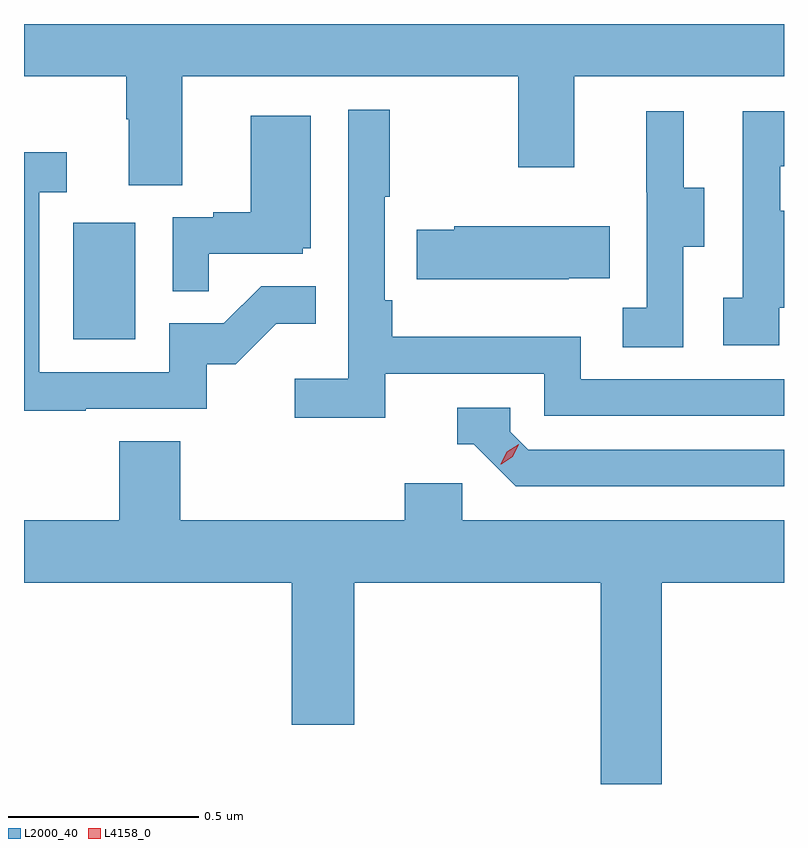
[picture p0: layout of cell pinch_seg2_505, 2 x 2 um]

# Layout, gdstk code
import gdstk
lib = gdstk.Library(unit=1e-6, precision=1e-09)
def R(c, l, rs):  # rectangles x0, y0, x1, y1
    for r in rs: c.add(gdstk.rectangle(r[:2], r[2:], *l))
def P(c, l, *ps):  # polygons
    for p in ps: c.add(gdstk.Polygon(p, *l))
L2000_40 = (2000, 40)
L4158_0 = (4158, 0)

pinch_seg2_505 = lib.new_cell('pinch_seg2_505')
R(pinch_seg2_505, L2000_40, [(967.628,597.66,967.792,597.967)])
P(pinch_seg2_505, L2000_40, [(967.915,598.352),(968.8,598.352),(968.8,598.113),(968.947,598.113),(968.947,598.352),(969.499,598.352),(969.499,598.49),(967.499,598.49),(967.499,598.352),(967.768,598.352),(967.768,598.24),(967.775,598.24),(967.775,598.066),(967.915,598.066)],
  [(968.45,597.57),(968.868,597.57),(968.868,597.459),(969.499,597.459),(969.499,597.555),(968.964,597.555),(968.964,597.667),(968.468,597.667),(968.468,597.763),(968.448,597.763),(968.448,598.036),(968.461,598.036),(968.461,598.264),(968.352,598.264),(968.352,597.556),(968.211,597.556),(968.211,597.454),(968.45,597.454)],
  [(969.486,597.743),(969.499,597.743),(969.499,597.998),(969.489,597.998),(969.489,598.116),(969.499,598.116),(969.499,598.261),(969.39,598.261),(969.39,597.77),(969.339,597.77),(969.339,597.645),(969.486,597.645)],
  [(969.234,597.904),(969.289,597.904),(969.289,598.059),(969.235,598.059),(969.235,598.261),(969.137,598.261),(969.137,598.047),(969.138,598.047),(969.138,597.743),(969.075,597.743),(969.075,597.64),(969.234,597.64)],
  [(967.985,597.885),(968.232,597.885),(968.232,597.9),(968.254,597.9),(968.254,598.249),(968.096,598.249),(968.096,597.994),(967.997,597.994),(967.997,597.981),(967.89,597.981),(967.89,597.787),(967.985,597.787)],
  [(967.661,597.477),(967.98,597.477),(967.98,597.594),(968.056,597.594),(968.163,597.701),(968.267,597.701),(968.267,597.8),(968.123,597.8),(968.025,597.702),(967.881,597.702),(967.881,597.573),(967.539,597.573),(967.539,598.047),(967.612,598.047),(967.612,598.153),(967.499,598.153),(967.499,597.472),(967.661,597.472)],
  [(968.933,597.821),(969.041,597.821),(969.041,597.958),(968.631,597.958),(968.631,597.948),(968.533,597.948),(968.533,597.818),(968.933,597.818)],
  [(969.499,597.369),(968.826,597.369),(968.778,597.417),(968.778,597.48),(968.639,597.48),(968.639,597.384),(968.682,597.384),(968.793,597.273),(969.499,597.273)],
  [(969.177,597.02),(969.499,597.02),(969.499,597.184),(968.652,597.184),(968.652,597.282),(968.501,597.282),(968.501,597.184),(967.91,597.184),(967.91,597.392),(967.75,597.392),(967.75,597.184),(967.499,597.184),(967.499,597.02),(968.204,597.02),(968.204,596.646),(968.368,596.646),(968.368,597.02),(969.017,597.02),(969.017,596.49),(969.177,596.49)])
P(pinch_seg2_505, L4158_0, [(968.754,597.331),(968.754,597.331),(968.77,597.364),(968.801,597.384),(968.801,597.384),(968.801,597.384),(968.785,597.351),(968.755,597.331)])

lib.write_gds('pinch_seg2_505.gds')
